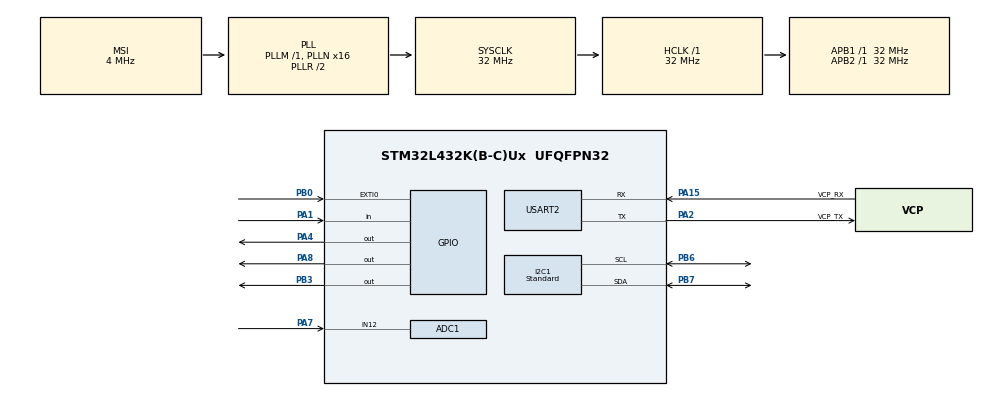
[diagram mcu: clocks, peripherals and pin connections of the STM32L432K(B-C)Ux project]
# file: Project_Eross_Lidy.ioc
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ADC1.Channel-1\#ChannelRegularConversion=ADC_CHANNEL_12
ADC1.NbrOfConversionFlag=1
ADC1.OffsetNumber-1\#ChannelRegularConversion=ADC_OFFSET_NONE
ADC1.Rank-1\#ChannelRegularConversion=1
ADC1.SamplingTime-1\#ChannelRegularConversion=ADC_SAMPLETIME_2CYCLES_5
ADC1.master=1
I2C1.I2C_Speed_Mode=I2C_Standard
I2C1.Timing=0x00B07CB4
Mcu.Family=STM32L4
Mcu.Name=STM32L432K(B-C)Ux
Mcu.Package=UFQFPN32
NUCLEO-L432KC.LD3=true
NVIC.EXTI0_IRQn=true\:0\:0\:false\:false\:true\:true\:true\:true
NVIC.PriorityGroup=NVIC_PRIORITYGROUP_4
NVIC.USART2_IRQn=true\:2\:0\:false\:false\:true\:true\:true\:true
PA1.GPIO_PuPd=GPIO_PULLUP
PA1.Signal=GPIO_Input
PA13\ (JTMS-SWDIO).GPIO_Label=SWDIO
PA13\ (JTMS-SWDIO).Signal=SYS_JTMS-SWDIO
PA14\ (JTCK-SWCLK).GPIO_Label=SWCLK
PA14\ (JTCK-SWCLK).Signal=SYS_JTCK-SWCLK
PA15\ (JTDI).GPIO_Label=VCP_RX
PA15\ (JTDI).Mode=Asynchronous
PA15\ (JTDI).Signal=USART2_RX
PA2.GPIO_Label=VCP_TX
PA2.Mode=Asynchronous
PA2.Signal=USART2_TX
PA4.PinState=GPIO_PIN_SET
PA4.Signal=GPIO_Output
PA7.Signal=ADCx_IN12
PA8.PinState=GPIO_PIN_SET
PA8.Signal=GPIO_Output
PB0.GPIO_ModeDefaultEXTI=GPIO_MODE_IT_FALLING
PB0.GPIO_PuPd=GPIO_PULLUP
PB0.Signal=GPXTI0
PB3\ (JTDO-TRACESWO).Signal=GPIO_Output
PB6.GPIO_Pu=GPIO_PULLUP
PB6.Mode=I2C
PB6.Signal=I2C1_SCL
PB7.GPIO_Pu=GPIO_PULLUP
PB7.Mode=I2C
PB7.Signal=I2C1_SDA
PC14-OSC32_IN\ (PC14).Signal=RCC_OSC32_IN
PC15-OSC32_OUT\ (PC15).Signal=RCC_OSC32_OUT
ProjectManager.HeapSize=0x200
ProjectManager.StackSize=0x400
ProjectManager.TargetToolchain=STM32CubeIDE
RCC.ADCFreq_Value=32000000
RCC.AHBFreq_Value=32000000
RCC.APB1Freq_Value=32000000
RCC.APB1TimFreq_Value=32000000
RCC.APB2Freq_Value=32000000
RCC.APB2TimFreq_Value=32000000
RCC.CortexFreq_Value=32000000
RCC.HCLKFreq_Value=32000000
RCC.HSE_VALUE=8000000
RCC.HSI16_VALUE=16000000
RCC.HSI48_VALUE=48000000
RCC.HSI_VALUE=16000000
RCC.LSE_VALUE=32768
RCC.MSI_VALUE=4000000
RCC.PLLMUL=RCC_PLLMUL_4
RCC.PLLN=16
RCC.PLLSAI1N=16
RCC.SYSCLKFreq_VALUE=32000000
RCC.SYSCLKSource=RCC_SYSCLKSOURCE_PLLCLK
RCC.USBFreq_Value=32000000
RCC.VCOOutputFreq_Value=64000000
SH.ADCx_IN12.0=ADC1_IN12,IN12-Single-Ended
USART2.VirtualMode-Asynchronous=VM_ASYNC
VP_NUCLEO-L432KC_VS_BSP_COMMON.Mode=COMMON
board=NUCLEO-L432KC

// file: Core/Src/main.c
/* USER CODE BEGIN Header */
/**
  ******************************************************************************
  * @file           : main.c
  * @brief          : VL53L1X + LCD: SW1 measure/hold/sleep + pot debug modes
  ******************************************************************************
  * @attention
  *
  * Copyright (c) 2026 STMicroelectronics.
  * All rights reserved.
  *
  * This software is licensed under terms that can be found in the LICENSE file
  * in the root directory of this software component.
  * If no LICENSE file comes with this software, it is provided AS-IS.
  *
  * Presentation (SW1): Ready → Live cm → Hold; 30 s idle → sleep; wake restores.
  * Debug (potentiometer PA7 / ADC1_IN12):
  *   0–33%  UART TEST  — stream pot + distance on VCP
  *  34–66%  STANDARD   — normal LCD UI (scenarios above)
  *  67–100% LCD DEBUG  — type on the VCP, Enter writes LCD row 2
  * SW1: PA3 pull-up, pressed = 0, EXTI3 falling (wake source)
 * Power: TIM7 is the HAL tick (not SysTick); the loop idles in __WFI(). While
 *        idling TIM7 becomes one coarse one-shot of up to 100 ms, so the CPU
 *        wakes once per wait instead of every millisecond. In sleep the tick
 *        is suspended entirely, leaving SW1 (EXTI3) as the only wake source.
  *
  ******************************************************************************
  */
/* USER CODE END Header */
#include "main.h"

/* USER CODE BEGIN Includes */
#include <stdio.h>
#include "lcd.h"
#include "app_types.h"
#include "pot.h"
#include "distance_app.h"
#include "uart_console.h"
#include "app_ui.h"
/* USER CODE END Includes */

ADC_HandleTypeDef hadc1;

I2C_HandleTypeDef hi2c1;

UART_HandleTypeDef huart2;

void SystemClock_Config(void);
static void MX_GPIO_Init(void);
static void MX_ADC1_Init(void);
static void MX_I2C1_Init(void);
static void MX_USART2_UART_Init(void);

int main(void)
{

  /* USER CODE BEGIN 1 */
  app_state_t state = ST_WAIT_INPUT;
  PotMode_t pot_mode = MODE_STANDARD_LCD;
  PotMode_t last_pot_mode = MODE_STANDARD_LCD;
  uint8_t was_hold = 0;
  uint8_t pot_percent = 0;
  uint16_t raw_adc = 0;
  uint32_t t_idle;
  uint32_t t_tof_poll = 0;
  uint32_t last_print_time = 0;
  uint32_t shown_s = 999U;
  int shown_cm = -1;
  app_state_t shown_state = ST_SLEEP;
  /* USER CODE END 1 */

  /* MCU Configuration--------------------------------------------------------*/

  /* Reset of all peripherals, Initializes the Flash interface and the Systick. */
  HAL_Init();

  /* Configure the system clock */
  SystemClock_Config();

  /* Initialize all configured peripherals */
  MX_GPIO_Init();
  MX_ADC1_Init();
  MX_I2C1_Init();
  MX_USART2_UART_Init();
  /* USER CODE BEGIN 2 */
  /* I2C1 (PB6 SCL / PB7 SDA, open-drain + pull-up in MSP) is shared by the
   * LCD backpack and the VL53L1X. MX_I2C1_Init() already ran; LCD_Init needs
   * that handle. Two slaves on one bus: never overlap LCD nibbles with ToF. */
  uart_console_start();

  printf("\r\n=========================================\r\n");
  printf("   VL53L1X + LCD (SW1 + pot debug)       \r\n");
  printf("=========================================\r\n");

  if (HAL_ADCEx_Calibration_Start(&hadc1, ADC_SINGLE_ENDED) != HAL_OK)
  {
    printf("[WARN] ADC Calibration Failed!\r\n");
  }

  t_idle = HAL_GetTick();
  t_tof_poll = t_idle;
  shown_s = 0U;
  shown_cm = distance_cm_get();

  if (tof_try_attach() != 0U)
  {
    state = ST_READY;
    shown_state = ST_READY;
    printf("[OK] VL53L1X ready - System Ready\r\n");
  }
  else
  {
    state = ST_WAIT_INPUT;
    shown_state = ST_WAIT_INPUT;
    printf("[WAIT] No VL53 ACK yet - waiting / SW1 skip\r\n");
  }

  LCD_Init(&hi2c1);
  /* Probe is already done inside LCD_Init (0x27 then 0x3F); this is VCP only. */
  if (HAL_I2C_IsDeviceReady(&hi2c1, (uint16_t)(0x27U << 1), 1, 50) == HAL_OK)
  {
    printf("[OK] LCD ACK at 0x27\r\n");
  }
  else if (HAL_I2C_IsDeviceReady(&hi2c1, (uint16_t)(0x3FU << 1), 1, 50) == HAL_OK)
  {
    printf("[OK] LCD ACK at 0x3F\r\n");
  }
  else
  {
    printf("[WARN] LCD no ACK at 0x27/0x3F\r\n");
  }

  if (state == ST_READY)
  {
    LCD_WriteLine(0, "System Ready");
    LCD_WriteLine(1, "On: 30s");
  }
  else
  {
    LCD_WriteLine(0, "Waiting for");
    LCD_WriteLine(1, "input device");
  }
  /* USER CODE END 2 */

  /* Initialize leds */
  BSP_LED_Init(LED_GREEN);

  /* Infinite loop */
  /* USER CODE BEGIN WHILE */
  while (1)
  {
    pot_sample(&raw_adc, &pot_percent, &pot_mode);
    if (pot_mode != last_pot_mode)
    {
      app_on_pot_mode_change(pot_mode, state, &shown_s, &shown_cm, &shown_state);
      last_pot_mode = pot_mode;
    }

    if (app_sw1_poll(&state, &was_hold) != 0U)
    {
      if (state != ST_WAIT_INPUT)
      {
        t_idle = HAL_GetTick();
      }
      shown_state = ST_SLEEP;
      shown_cm = -1;
    }

    uart_console_poll(state, pot_mode, &t_idle);

    if ((state == ST_WAIT_INPUT) && ((HAL_GetTick() - t_tof_poll) >= TOF_POLL_MS))
    {
      t_tof_poll = HAL_GetTick();
      if (tof_try_attach() != 0U)
      {
        state = ST_READY;
        t_idle = HAL_GetTick();
        shown_state = ST_SLEEP;
        printf("[OK] VL53L1X connected - System Ready\r\n");
      }
    }

    tof_service_live(state, pot_mode);

    if ((pot_mode == MODE_UART_TEST) && (state != ST_SLEEP) && (state != ST_WAIT_INPUT))
    {
      if ((HAL_GetTick() - last_print_time) >= UART_PRINT_MS)
      {
        printf("[TEST MODE] Pot: %3u%% (%4u) | Distance: %4u mm (%3d cm) st=%u\r\n",
               pot_percent, raw_adc, distance_mm_get(), distance_cm_get(),
               (unsigned)state);
        last_print_time = HAL_GetTick();
      }
    }

    if ((state != ST_SLEEP) && (state != ST_WAIT_INPUT)
        && ((HAL_GetTick() - t_idle) >= TIMEOUT_MS))
    {
      /* 30 s idle: stop ranging, remember Hold, LCD display/backlight off.
       * DDRAM and was_hold stay in RAM. Next loop uses app_wait_sleep() —
       * MCU Sleep + __WFI, not Stop/Standby, so wake can restore Hold. */
      was_hold = (state == ST_HOLD) ? 1U : 0U;
      tof_stop();
      state = ST_SLEEP;
      LCD_Sleep();
      printf("[SLEEP] idle 30 s\r\n");
    }

    app_paint(state, pot_mode, t_idle, &shown_s, &shown_cm, &shown_state);
    app_led(state);

    if (state == ST_SLEEP)
    {
      /* Tick suspended; only EXTI3 (SW1) wakes. Not Stop/Standby. */
      app_wait_sleep();
    }
    else
    {
      app_wake_clear();
      HAL_TickSleep(app_idle_ms(state));
    }

    /* USER CODE END WHILE */

  }
}

void SystemClock_Config(void)
{
  RCC_OscInitTypeDef RCC_OscInitStruct = {0};
  RCC_ClkInitTypeDef RCC_ClkInitStruct = {0};

  /** Configure the main internal regulator output voltage
  */
  if (HAL_PWREx_ControlVoltageScaling(PWR_REGULATOR_VOLTAGE_SCALE1) != HAL_OK)
  {
    Error_Handler();
  }

  /** Initializes the RCC Oscillators according to the specified parameters
  * in the RCC_OscInitTypeDef structure.
  */
  RCC_OscInitStruct.OscillatorType = RCC_OSCILLATORTYPE_MSI;
  RCC_OscInitStruct.MSIState = RCC_MSI_ON;
  RCC_OscInitStruct.MSICalibrationValue = 0;
  RCC_OscInitStruct.MSIClockRange = RCC_MSIRANGE_6;
  RCC_OscInitStruct.PLL.PLLState = RCC_PLL_ON;
  RCC_OscInitStruct.PLL.PLLSource = RCC_PLLSOURCE_MSI;
  RCC_OscInitStruct.PLL.PLLM = 1;
  RCC_OscInitStruct.PLL.PLLN = 16;
  RCC_OscInitStruct.PLL.PLLP = RCC_PLLP_DIV7;
  RCC_OscInitStruct.PLL.PLLQ = RCC_PLLQ_DIV2;
  RCC_OscInitStruct.PLL.PLLR = RCC_PLLR_DIV2;
  if (HAL_RCC_OscConfig(&RCC_OscInitStruct) != HAL_OK)
  {
    Error_Handler();
  }

  /** Initializes the CPU, AHB and APB buses clocks
  */
  RCC_ClkInitStruct.ClockType = RCC_CLOCKTYPE_HCLK|RCC_CLOCKTYPE_SYSCLK
                              |RCC_CLOCKTYPE_PCLK1|RCC_CLOCKTYPE_PCLK2;
  RCC_ClkInitStruct.SYSCLKSource = RCC_SYSCLKSOURCE_PLLCLK;
  RCC_ClkInitStruct.AHBCLKDivider = RCC_SYSCLK_DIV1;
  RCC_ClkInitStruct.APB1CLKDivider = RCC_HCLK_DIV1;
  RCC_ClkInitStruct.APB2CLKDivider = RCC_HCLK_DIV1;

  if (HAL_RCC_ClockConfig(&RCC_ClkInitStruct, FLASH_LATENCY_1) != HAL_OK)
  {
    Error_Handler();
  }
}

static void MX_ADC1_Init(void)
{

  ADC_ChannelConfTypeDef sConfig = {0};

  /** Common config
  */
  hadc1.Instance = ADC1;
  hadc1.Init.ClockPrescaler = ADC_CLOCK_ASYNC_DIV1;
  hadc1.Init.Resolution = ADC_RESOLUTION_12B;
  hadc1.Init.DataAlign = ADC_DATAALIGN_RIGHT;
  hadc1.Init.ScanConvMode = ADC_SCAN_DISABLE;
  hadc1.Init.EOCSelection = ADC_EOC_SINGLE_CONV;
  hadc1.Init.LowPowerAutoWait = DISABLE;
  hadc1.Init.ContinuousConvMode = DISABLE;
  hadc1.Init.NbrOfConversion = 1;
  hadc1.Init.DiscontinuousConvMode = DISABLE;
  hadc1.Init.ExternalTrigConv = ADC_SOFTWARE_START;
  hadc1.Init.ExternalTrigConvEdge = ADC_EXTERNALTRIGCONVEDGE_NONE;
  hadc1.Init.DMAContinuousRequests = DISABLE;
  hadc1.Init.Overrun = ADC_OVR_DATA_PRESERVED;
  hadc1.Init.OversamplingMode = DISABLE;
  if (HAL_ADC_Init(&hadc1) != HAL_OK)
  {
    Error_Handler();
  }

  /** Configure Regular Channel
  */
  sConfig.Channel = ADC_CHANNEL_12;
  sConfig.Rank = ADC_REGULAR_RANK_1;
  sConfig.SamplingTime = ADC_SAMPLETIME_2CYCLES_5;
  sConfig.SingleDiff = ADC_SINGLE_ENDED;
  sConfig.OffsetNumber = ADC_OFFSET_NONE;
  sConfig.Offset = 0;
  if (HAL_ADC_ConfigChannel(&hadc1, &sConfig) != HAL_OK)
  {
    Error_Handler();
  }

}

static void MX_I2C1_Init(void)
{

  /* USER CODE BEGIN I2C1_Init 0 */
  /* Fast Mode, 7-bit. Pins (open-drain + pull-up) are in HAL_I2C_MspInit. */
  /* USER CODE END I2C1_Init 0 */

  hi2c1.Instance = I2C1;
  hi2c1.Init.Timing = 0x00B07CB4;
  hi2c1.Init.OwnAddress1 = 0;
  hi2c1.Init.AddressingMode = I2C_ADDRESSINGMODE_7BIT;
  hi2c1.Init.DualAddressMode = I2C_DUALADDRESS_DISABLE;
  hi2c1.Init.OwnAddress2 = 0;
  hi2c1.Init.OwnAddress2Masks = I2C_OA2_NOMASK;
  hi2c1.Init.GeneralCallMode = I2C_GENERALCALL_DISABLE;
  hi2c1.Init.NoStretchMode = I2C_NOSTRETCH_DISABLE;
  if (HAL_I2C_Init(&hi2c1) != HAL_OK)
  {
    Error_Handler();
  }

  /** Configure Analogue filter
  */
  if (HAL_I2CEx_ConfigAnalogFilter(&hi2c1, I2C_ANALOGFILTER_ENABLE) != HAL_OK)
  {
    Error_Handler();
  }

  /** Configure Digital filter
  */
  if (HAL_I2CEx_ConfigDigitalFilter(&hi2c1, 0) != HAL_OK)
  {
    Error_Handler();
  }

}

static void MX_USART2_UART_Init(void)
{

  huart2.Instance = USART2;
  huart2.Init.BaudRate = 115200;
  huart2.Init.WordLength = UART_WORDLENGTH_8B;
  huart2.Init.StopBits = UART_STOPBITS_1;
  huart2.Init.Parity = UART_PARITY_NONE;
  huart2.Init.Mode = UART_MODE_TX_RX;
  huart2.Init.HwFlowCtl = UART_HWCONTROL_NONE;
  huart2.Init.OverSampling = UART_OVERSAMPLING_16;
  huart2.Init.OneBitSampling = UART_ONE_BIT_SAMPLE_DISABLE;
  huart2.AdvancedInit.AdvFeatureInit = UART_ADVFEATURE_NO_INIT;
  if (HAL_UART_Init(&huart2) != HAL_OK)
  {
    Error_Handler();
  }

}

static void MX_GPIO_Init(void)
{
  GPIO_InitTypeDef GPIO_InitStruct = {0};

  /* GPIO Ports Clock Enable */
  __HAL_RCC_GPIOC_CLK_ENABLE();
  __HAL_RCC_GPIOA_CLK_ENABLE();
  __HAL_RCC_GPIOB_CLK_ENABLE();

  /*Configure GPIO pin Output Level */
  HAL_GPIO_WritePin(GPIOA, GPIO_PIN_4|GPIO_PIN_8, GPIO_PIN_SET);

  /*Configure GPIO pin : PA1 */
  GPIO_InitStruct.Pin = GPIO_PIN_1;
  GPIO_InitStruct.Mode = GPIO_MODE_INPUT;
  GPIO_InitStruct.Pull = GPIO_PULLUP;
  HAL_GPIO_Init(GPIOA, &GPIO_InitStruct);

  /*Configure GPIO pins : PA4 PA8 */
  GPIO_InitStruct.Pin = GPIO_PIN_4|GPIO_PIN_8;
  GPIO_InitStruct.Mode = GPIO_MODE_OUTPUT_PP;
  GPIO_InitStruct.Pull = GPIO_NOPULL;
  GPIO_InitStruct.Speed = GPIO_SPEED_FREQ_LOW;
  HAL_GPIO_Init(GPIOA, &GPIO_InitStruct);

  /*Configure GPIO pin : PB0 */
  GPIO_InitStruct.Pin = GPIO_PIN_0;
  GPIO_InitStruct.Mode = GPIO_MODE_IT_FALLING;
  GPIO_InitStruct.Pull = GPIO_PULLUP;
  HAL_GPIO_Init(GPIOB, &GPIO_InitStruct);

  /* EXTI interrupt init*/
  HAL_NVIC_SetPriority(EXTI0_IRQn, 0, 0);
  HAL_NVIC_EnableIRQ(EXTI0_IRQn);

  /* USER CODE BEGIN MX_GPIO_Init_2 */
  /* SW1 on PA3 (pull-up, pressed = 0) — not in .ioc; keep in USER CODE */
  GPIO_InitStruct.Pin = SW1_PIN;
  GPIO_InitStruct.Mode = GPIO_MODE_IT_FALLING;
  GPIO_InitStruct.Pull = GPIO_PULLUP;
  HAL_GPIO_Init(SW1_PORT, &GPIO_InitStruct);

  /* SW1 is the only wake source while the LCD sleeps; ISR just clears the flag.
     Below EXTI0/tick priority so it cannot cut into an LCD I2C nibble write. */
  HAL_NVIC_SetPriority(EXTI3_IRQn, 1, 0);
  HAL_NVIC_EnableIRQ(EXTI3_IRQn);

  /*
   * Project_LCD has no PB0 EXTI. VL53 GPIO1/INT on the Click often lands on
   * PB0 — EXTI0 at priority 0 can preempt mid-LCD I2C nibble writes and leave
   * the HD44780 desynced (garbage glyphs). Driver polls INT via I2C registers.
   * Keep EXTI0 off for the whole run, not only "during" LCD writes.
   */
  HAL_NVIC_DisableIRQ(EXTI0_IRQn);
  /* USER CODE END MX_GPIO_Init_2 */
}

void Error_Handler(void)
{
  __disable_irq();
  while (1)
  {
  }
}
